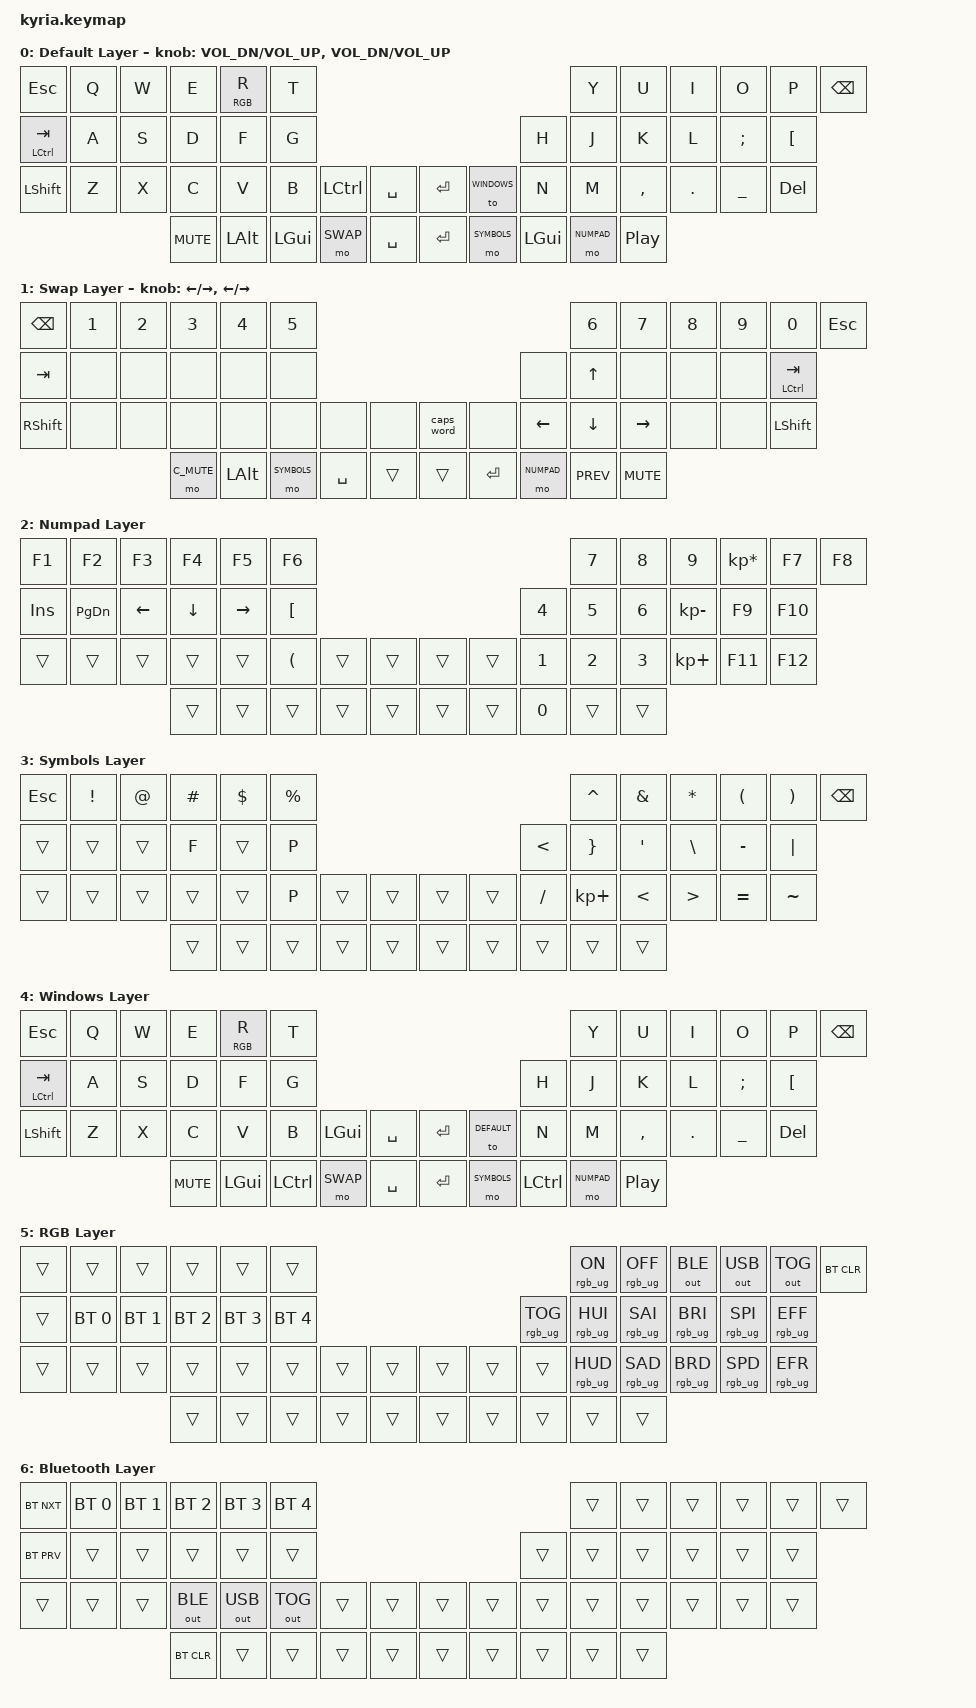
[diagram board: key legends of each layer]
/*
 * Copyright (c) 2020 The ZMK Contributors
 *
 * SPDX-License-Identifier: MIT
 */

#include <../boards/shields/kyria/boards/nice_nano.overlay>
#include <behaviors.dtsi>
#include <dt-bindings/zmk/keys.h>
#include <dt-bindings/zmk/bt.h>
#include <dt-bindings/zmk/outputs.h>
#include <dt-bindings/zmk/rgb.h>


#define DEFAULT 0
#define SWAP 1
#define NUMPAD 2
#define SYMBOLS 3
#define WINDOWS 4
#define RGB 5
#define BLUETOOTH 6

&left_encoder {
	resolution = <2>;
};

&right_encoder {
	resolution = <4>;
};

&mt {
	flavor = "tap-preferred";
};

&lt {
	flavor = "hold-preferred";
	tapping-term-ms = <200>;
};

/ {
	behaviors {
		ltq: layer_tap_quick {
			compatible = "zmk,behavior-hold-tap";
			label = "LAYER_TAP_QUICK";
			#binding-cells = <2>;
			flavor = "tap-preferred";
			tapping-term-ms = <200>;
			quick-tap-ms = <125>;
			bindings = <&mo>, <&kp>;
		};
	};

	keymap {
		compatible = "zmk,keymap";

		default_layer {
			display-name = "Default Layer";
// ---------------------------------------------------------------------------------------------------------------------------------
// |  ESC  |  Q  |  W  |  E   |RGB/R |  T   |                                          |  Y   |  U    |  I    |  O   |   P   | BSPC |
// |TAB/CTL|  A  |  S  |  D   |  F   |  G   |                                          |  H   |  J    |  K    |  L   |   ;   |   [  |
// | SHIFT |  Z  |  X  |  C   |  V   |  B   | L CTRL  |  SPACE  |  |   RET   | WINDOWS |  N   |  M    |  ,    |  .   |   _   | DEL  |
//                     | MUTE | ALT  | GUI  |  SWAP   |  SPACE  |  |   RET   | SYMBOLS | GUI  | NUMPAD| PLAY  |
			bindings = <
	&kp ESC			&kp Q		&kp W		&kp E		&ltq RGB R		&kp T                                         												&kp Y 				&kp U		&kp I		&kp O		&kp P		&kp BSPC
	&mt LCTRL TAB	&kp A       &kp S       &kp D       &kp F 			&kp G                                               								&kp H 				&kp J		&kp K		&kp L		&kp SEMI 	&kp LBKT 
	&kp LSHFT 		&kp Z 		&kp X       &kp C       &kp V       	&kp B 			&kp LCTRL	&kp SPACE   		&kp RET 		&to WINDOWS		&kp N 				&kp M		&kp COMMA 	&kp DOT 	&kp UNDER 	&kp DEL
	                						&kp C_MUTE  &kp LALT    	&kp LGUI  	&mo SWAP 	&kp SPACE     		&kp RET			&mo SYMBOLS 	&kp LGUI 			&mo NUMPAD 	&kp C_PP 
			>;

			sensor-bindings = <&inc_dec_kp C_VOL_DN C_VOL_UP &inc_dec_kp C_VOL_DN C_VOL_UP>;
		};
                        
		swap_layer {
			display-name = "Swap Layer";
// ---------------------------------------------------------------------------------------------------------------------------------
// | BSPC  |  1  |  2  |  3   |  4   |  5   |                                          |  6   |  7    |  8    |  9   |   0   | ESC  |
// |  TAB  |     |     |      |      |      |                                          |      |  UP   |       |      |       |TAB/CTL|
// | SHIFT |     |     |      |      |      |         |         |  | CAPS_W  |         | LEFT | DOWN  | RIGHT |      |       | SHIFT|
//                     | MUTE | ALT  |SYMBOL| SPACE   | TRANS   |  | TRANS   |  RET    |NUMPAD| PREV  | MUTE  |
			bindings = <
	&kp BSPC		&kp N1		&kp N2		&kp N3		&kp N4		&kp N5                                        										&kp N6			&kp N7			&kp N8		&kp N9		&kp N0		&kp ESC
	&kp TAB 	    &none  	    &none 		&none 		&none 		&none                                            									&none 			&kp UP  		&none     	&none   	&none 		&mt LCTRL TAB
	&kp RSHFT 		&none 	    &none		&none       &none 		&none		    &none		    &none				&caps_word		&none			&kp LEFT 	    &kp DOWN  		&kp RIGHT 	&none 	    &none 	    &kp LSHFT
	                     					&mo C_MUTE 	&kp LALT 	&mo SYMBOLS 	&kp SPACE 		&trans         		&trans 			&kp RET			&mo NUMPAD		&kp C_PREV 		&kp C_MUTE
			>;

			sensor-bindings = <&inc_dec_kp LEFT RIGHT &inc_dec_kp LEFT RIGHT>;
		};

		numpad_layer {
			display-name = "Numpad Layer";
// ---------------------------------------------------------------------------------------------------------------------------------
// |  F1   | F2  | F3  | F4   | F5   | F6   |                                          |  7   |  8    |  9    |  *   |  F7   |  F8  |
// | INSERT|PG_DN|LEFT | DOWN |RIGHT |  [   |                                          |  4   |  5    |  6    |  -   |  F9   | F10  |
// | TRANS |TRANS|TRANS|TRANS |TRANS |  (   | TRANS   | TRANS   |  | TRANS   | TRANS  |  1   |  2    |  3    |  +   |  F11  | F12  |
//                     | TRANS|TRANS |TRANS | TRANS   | TRANS   |  | TRANS   | TRANS  |  0   | TRANS | TRANS |
			bindings = <
	&kp F1		&kp F2			&kp F3			&kp F4		&kp F5		&kp F6                                  							&kp N7			&kp N8		&kp N9 		&kp KP_MULTIPLY		&kp F7 		&kp F8
	&kp INSERT	&kp PG_DN		&kp LEFT 		&kp DOWN 	&kp RIGHT 	&kp LBKT                                  							&kp N4 			&kp N5  	&kp N6 		&kp KP_MINUS		&kp F9 		&kp F10
	&trans     	&trans 			&trans 			&trans 		&trans 		&kp LPAR		&trans		&trans   		&trans		&trans 		&kp N1 			&kp N2  	&kp N3 		&kp KP_PLUS 		&kp F11  	&kp F12
	                         					&trans 			&trans 	&trans 			&trans 		&trans         	&trans 		&trans 		&kp N0 			&trans 		&trans
			>;
		};

		symbol_layer {
			display-name = "Symbols Layer";
// ---------------------------------------------------------------------------------------------------------------------------------
// | ESC   |  !  |  @  |  #   |  $   |  %   |                                          |  ^   |  &    |  *    |  (   |   )   | BSPC |
// | TRANS |TRANS|TRANS|  F   |TRANS |  P   |                                          |  <   |  ]    |  '    |  \   |   -   |  |   |
// | TRANS |TRANS|TRANS|TRANS |TRANS |  P   | TRANS   | TRANS   |  | TRANS   | TRANS  |  /   |  +    |  <    |  >   |  =    |  ~   |
//                     |TRANS |TRANS |TRANS | TRANS   | TRANS   |  | TRANS   | TRANS  |TRANS | TRANS | TRANS |
			bindings = <
	&kp ESC		&kp EXCL		&kp AT		&kp HASH		&kp DOLLAR		&kp PRCNT                                 							&kp CARET		&kp AMPS	&kp STAR		&kp LPAR		&kp RPAR		&kp BSPC
	&trans		&trans			&trans		&kp F 			&trans 			&kp P                      											    &kp LT		&kp RBRC	&kp SQT			&kp BSLH		&kp MINUS		&kp PIPE
	&trans		&trans			&trans		&trans			&trans			&kp P			&trans		&trans				&trans		&trans		&kp SLASH		&kp KP_PLUS	&kp LT		&kp GT	&kp EQUAL		&kp TILDE
	                          				&trans			&trans			&trans			&trans		&trans				&trans		&trans		&trans			&trans		&trans
			>;

		};

windows_layer {
		display-name = "Windows Layer";
// ---------------------------------------------------------------------------------------------------------------------------------
// |  ESC  |  Q  |  W  |  E   |RGB/R |  T   |                                          |  Y   |  U    |  I    |  O   |   P   | BSPC |
// |TAB/CTL|  A  |  S  |  D   |  F   |  G   |                                          |  H   |  J    |  K    |  L   |   ;   |   [  |
// | SHIFT |  Z  |  X  |  C   |  V   |  B   | L GUI   |  SPACE  |  |   RET   | DEFAULT |  N   |  M    |  ,    |  .   |   _   | DEL  |
//                     | MUTE | GUI  | CTRL |  SWAP   |  SPACE  |  |   RET   | SYMBOLS | CTRL | NUMPAD| PLAY  |
		bindings = <
	&kp ESC			&kp Q		&kp W		&kp E		&ltq RGB R		&kp T                                         												&kp Y 				&kp U		&kp I		&kp O		&kp P		&kp BSPC
	&mt LCTRL TAB	&kp A       &kp S       &kp D       &kp F 			&kp G                                               								&kp H 				&kp J		&kp K		&kp L		&kp SEMI 	&kp LBKT 
	&kp LSHFT 		&kp Z 		&kp X       &kp C       &kp V       	&kp B 			&kp LGUI	&kp SPACE   		&kp RET 		&to DEFAULT		&kp N 				&kp M		&kp COMMA 	&kp DOT 	&kp UNDER 	&kp DEL
	                						&kp C_MUTE  &kp LGUI    	&kp LCTRL  	&mo SWAP 	&kp SPACE     		&kp RET			&mo SYMBOLS 	&kp LCTRL 			&mo NUMPAD 	&kp C_PP 
			>;

		};

		rgb_layer {
			display-name = "RGB Layer";
// ---------------------------------------------------------------------------------------------------------------------------------
// | TRANS |TRANS|TRANS|TRANS |TRANS |TRANS |                                          |RGB_ON|RGB_OFF|TRANS  |TRANS |TRANS  |TRANS |
// | TRANS |TRANS|TRANS|TRANS |TRANS |TRANS |                                          |RGB_TOG|RGB_HUI|RGB_SAI|RGB_BRI|RGB_SPI|RGB_EFF|
// | TRANS |TRANS|TRANS|TRANS |TRANS |TRANS | TRANS   | TRANS   |  | TRANS   | TRANS  |TRANS |RGB_HUD|RGB_SAD|RGB_BRD|RGB_SPD|RGB_EFR|
//                     |TRANS |TRANS |TRANS | TRANS   | TRANS   |  | TRANS   | TRANS  |TRANS | TRANS | TRANS |
			bindings = <
	&trans &trans &trans &trans &trans &trans                                &rgb_ug RGB_ON &rgb_ug RGB_OFF &out OUT_BLE &out OUT_USB &out OUT_TOG &bt BT_CLR
	&trans &bt BT_SEL 0 &bt BT_SEL 1 &bt BT_SEL 2 &bt BT_SEL 3 &bt BT_SEL 4    &rgb_ug RGB_TOG &rgb_ug RGB_HUI &rgb_ug RGB_SAI &rgb_ug RGB_BRI &rgb_ug RGB_SPI &rgb_ug RGB_EFF
	&trans &trans &trans &trans &trans &trans &trans &trans    &trans &trans &trans          &rgb_ug RGB_HUD &rgb_ug RGB_SAD &rgb_ug RGB_BRD &rgb_ug RGB_SPD &rgb_ug RGB_EFR
	                     &trans &trans &trans &trans &trans    &trans &trans &trans &trans &trans
			>;

		};

		bluetooth_layer {
			display-name = "Bluetooth Layer";
// ---------------------------------------------------------------------------------------------------------------------------------
// |BT_NXT |BT_0 |BT_1 |BT_2  |BT_3  |BT_4  |                                          |TRANS |TRANS  |TRANS  |TRANS |TRANS  |TRANS |
// |BT_PRV |TRANS|TRANS|TRANS |TRANS |TRANS |                                          |TRANS |TRANS  |TRANS  |TRANS |TRANS  |TRANS |
// | TRANS |TRANS|TRANS|OUT_BLE|OUT_USB|OUT_TOG| TRANS | TRANS   |  | TRANS   | TRANS  |TRANS |TRANS  |TRANS  |TRANS |TRANS  |TRANS |
//                     |BT_CLR|TRANS |TRANS | TRANS   | TRANS   |  | TRANS   | TRANS  |TRANS | TRANS | TRANS |
			bindings = <
	&bt BT_NXT &bt BT_SEL 0 &bt BT_SEL 1 &bt BT_SEL 2 &bt BT_SEL 3 &bt BT_SEL 4                    &trans &trans &trans &trans &trans &trans
	&bt BT_PRV &trans &trans &trans &trans &trans                                                  &trans &trans &trans &trans &trans &trans
	&trans     &trans &trans &out OUT_BLE &out OUT_USB &out OUT_TOG &trans &trans    &trans &trans &trans &trans &trans &trans &trans &trans
	                         &bt BT_CLR &trans &trans &trans &trans                  &trans &trans &trans &trans &trans
			>;

		};

	};
};
